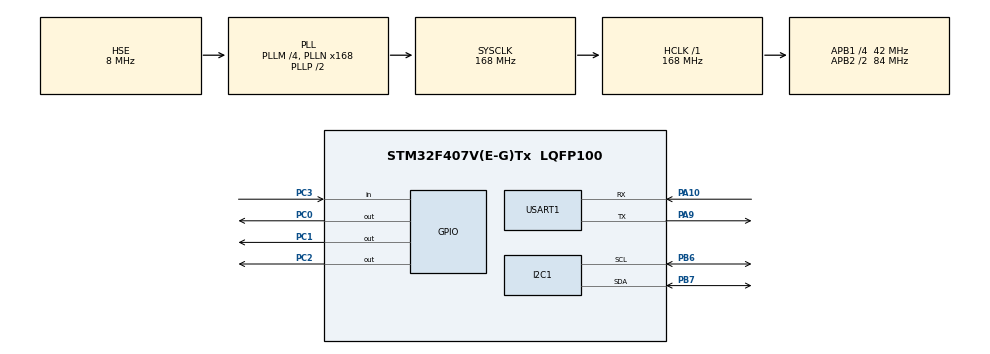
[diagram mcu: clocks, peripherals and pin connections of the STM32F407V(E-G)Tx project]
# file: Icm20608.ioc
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I2C1.I2C_Mode=I2C_Fast
Mcu.Family=STM32F4
Mcu.Name=STM32F407V(E-G)Tx
Mcu.Package=LQFP100
NVIC.PriorityGroup=NVIC_PRIORITYGROUP_4
PA10.Mode=Asynchronous
PA10.Signal=USART1_RX
PA9.Mode=Asynchronous
PA9.Signal=USART1_TX
PB6.Mode=I2C
PB6.Signal=I2C1_SCL
PB7.Mode=I2C
PB7.Signal=I2C1_SDA
PC0.GPIO_ModeDefaultOutputPP=GPIO_MODE_OUTPUT_PP
PC0.GPIO_PuPd=GPIO_PULLUP
PC0.PinState=GPIO_PIN_SET
PC0.Signal=GPIO_Output
PC1.GPIO_ModeDefaultOutputPP=GPIO_MODE_OUTPUT_PP
PC1.GPIO_PuPd=GPIO_PULLUP
PC1.PinState=GPIO_PIN_SET
PC1.Signal=GPIO_Output
PC14-OSC32_IN.Mode=LSE-External-Oscillator
PC14-OSC32_IN.Signal=RCC_OSC32_IN
PC15-OSC32_OUT.Mode=LSE-External-Oscillator
PC15-OSC32_OUT.Signal=RCC_OSC32_OUT
PC2.GPIO_ModeDefaultOutputPP=GPIO_MODE_OUTPUT_PP
PC2.GPIO_PuPd=GPIO_PULLUP
PC2.PinState=GPIO_PIN_SET
PC2.Signal=GPIO_Output
PC3.GPIO_PuPd=GPIO_PULLUP
PC3.Signal=GPIO_Input
PH0-OSC_IN.Mode=HSE-External-Oscillator
PH0-OSC_IN.Signal=RCC_OSC_IN
PH1-OSC_OUT.Mode=HSE-External-Oscillator
PH1-OSC_OUT.Signal=RCC_OSC_OUT
ProjectManager.HeapSize=0x200
ProjectManager.StackSize=0x400
ProjectManager.TargetToolchain=MDK-ARM V5
RCC.48MHZClocksFreq_Value=84000000
RCC.AHBFreq_Value=168000000
RCC.APB1CLKDivider=RCC_HCLK_DIV4
RCC.APB1Freq_Value=42000000
RCC.APB1TimFreq_Value=84000000
RCC.APB2CLKDivider=RCC_HCLK_DIV2
RCC.APB2Freq_Value=84000000
RCC.APB2TimFreq_Value=168000000
RCC.CortexFreq_Value=168000000
RCC.HCLKFreq_Value=168000000
RCC.HSE_VALUE=8000000
RCC.HSI_VALUE=16000000
RCC.PLLM=4
RCC.PLLN=168
RCC.PLLSourceVirtual=RCC_PLLSOURCE_HSE
RCC.SYSCLKFreq_VALUE=168000000
RCC.SYSCLKSource=RCC_SYSCLKSOURCE_PLLCLK
RCC.VCOOutputFreq_Value=336000000
USART1.VirtualMode=VM_ASYNC
board=custom

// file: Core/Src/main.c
/* USER CODE BEGIN Header */
/**
  ******************************************************************************
  * @file           : main.c
  * @brief          : Main program body
  ******************************************************************************
  * @attention
  *
  * Copyright (c) 2025 STMicroelectronics.
  * All rights reserved.
  *
  * This software is licensed under terms that can be found in the LICENSE file
  * in the root directory of this software component.
  * If no LICENSE file comes with this software, it is provided AS-IS.
  *
  ******************************************************************************
  */
/* USER CODE END Header */
#include "main.h"
#include "i2c.h"
#include "usart.h"
#include "gpio.h"

/* USER CODE BEGIN Includes */
#include "stdio.h"
#include "ebtn.h"
#include "multiTimer.h"
#include "elog.h"
#include "driver_icm20608.h"
#include "driver_icm20608_interface.h"
/* USER CODE END Includes */

/* USER CODE BEGIN PTD */
MultiTimer mt_led, mt_key, mt_icm20608;
icm20608_handle_t icm20608;
/* USER CODE END PTD */

/* USER CODE BEGIN PD */
#define MT_KEY_TIME       5   // 按键扫描时间
#define MT_MPU_TIME       200 // 陀螺仪读取时间
/* USER CODE END PD */

/* USER CODE BEGIN PM */
typedef enum {
    USER_BUTTON_0 = 0,
    USER_BUTTON_MAX,
} user_button_t;
/* USER CODE END PM */

/* USER CODE BEGIN PV */
uint8_t current_color = 0; // 0=红, 1=绿, 2=蓝

/* 按键参数配置(消抖时间), 连击间隔时间(连击判断), 长按开始时间(长按判断), 长按间隔时间,
   长按保持时间, 长按结束时间, 长按保持间隔时间 */
static const ebtn_btn_param_t defaul_ebtn_param = EBTN_PARAMS_INIT(20, 0, 20, 300, 200, 1000, 5);

/* USER CODE END PV */

void SystemClock_Config(void);

/* USER CODE BEGIN 0 */
static ebtn_btn_t btns[] = {
    EBTN_BUTTON_INIT(USER_BUTTON_0, &defaul_ebtn_param),
};

uint64_t bsp_timer_tick(void)
{
    return (uint64_t)HAL_GetTick();
}

uint8_t prv_btn_get_state(struct ebtn_btn *btn)
{
    switch(btn->key_id) {
        case USER_BUTTON_0:
            return !HAL_GPIO_ReadPin(GPIOC, GPIO_PIN_3);
        default:
            return 0;
    }
}

void prv_btn_event(struct ebtn_btn *btn, ebtn_evt_t evt)
{
    // 按键K1
    if((btn->key_id == USER_BUTTON_0) && evt == EBTN_EVT_ONCLICK &&(ebtn_click_get_count(btn) == 1)) {
        HAL_GPIO_TogglePin(GPIOC, GPIO_PIN_0);
        elog_i("main", "Btn click");
    }
    else if((btn->key_id == USER_BUTTON_0) && (ebtn_click_get_count(btn) == 2)) {
        HAL_GPIO_TogglePin(GPIOC, GPIO_PIN_1);
        elog_i("main", "Btn Double click");
    }
    else if((btn->key_id == USER_BUTTON_0) && evt == EBTN_EVT_KEEPALIVE) {
        HAL_GPIO_TogglePin(GPIOC, GPIO_PIN_2);
        elog_i("main", "Btn Hold");
    }
}

void app_btn_init(void)
{
    ebtn_init(btns, EBTN_ARRAY_SIZE(btns), NULL, 0, prv_btn_get_state, prv_btn_event);
}

void mt_cb_key(MultiTimer* timer, void* userData)
{
    ebtn_process(HAL_GetTick());
    multiTimerStart(timer, MT_KEY_TIME, mt_cb_key, NULL);
}

void mt_cb_icm20608(MultiTimer* timer, void* userData)
{
    int16_t raw_temp;
    float temp;
    int16_t raw_accel[3];
    float accel[3];
    int16_t raw_gyro[3];
    float gyro[3];
    uint8_t res = 0;

    /* 读取温度 */
    res = icm20608_read_temperature(&icm20608, &raw_temp, &temp);
    if (res == 0)
    {
        elog_i("icm20608","temperature is %0.2fC.", temp);
    }

    /* 读取加速度 */
    res = icm20608_read_accelerometer(&icm20608, raw_accel, accel);
    if (res == 0)
    {
        elog_i("icm20608","acc x is %0.2fg.", accel[0]);
        elog_i("icm20608","acc y is %0.2fg.", accel[1]);
        elog_i("icm20608","acc z is %0.2fg.", accel[2]);
    }

    /* 读取角速度 */
    res = icm20608_read_gyroscope(&icm20608, raw_gyro, gyro);
    if (res == 0)
    {
        elog_i("icm20608","gyro x is %0.2fdps.", gyro[0]);
        elog_i("icm20608","gyro y is %0.2fdps.", gyro[1]);
        elog_i("icm20608","gyro z is %0.2fdps.", gyro[2]);
    }

    multiTimerStart(timer, MT_MPU_TIME, mt_cb_icm20608, NULL);
}

void LEDR_Blink(void)
{
    // 红灯闪烁
    HAL_GPIO_WritePin(GPIOC, GPIO_PIN_2, GPIO_PIN_RESET);
    HAL_GPIO_WritePin(GPIOC, GPIO_PIN_1, GPIO_PIN_SET);
    HAL_GPIO_WritePin(GPIOC, GPIO_PIN_0, GPIO_PIN_SET);
    HAL_Delay(300);
    HAL_GPIO_WritePin(GPIOC, GPIO_PIN_2, GPIO_PIN_SET);
    HAL_Delay(300);
}

void LEDG_Blick(void)
{
    // 绿灯闪烁
    HAL_GPIO_WritePin(GPIOC, GPIO_PIN_2, GPIO_PIN_SET);
    HAL_GPIO_WritePin(GPIOC, GPIO_PIN_1, GPIO_PIN_RESET);
    HAL_GPIO_WritePin(GPIOC, GPIO_PIN_0, GPIO_PIN_SET);
    HAL_Delay(100);
    HAL_GPIO_WritePin(GPIOC, GPIO_PIN_1, GPIO_PIN_SET);
    HAL_Delay(100);
}

uint8_t icm20608_basic_test(void)
{
  HAL_Delay(100);  /* 等待传感器上电稳定 */

  /* ICM20608测试 */
  uint8_t res;
  icm20608_info_t info;

  /* 1. 配置ICM20608句柄 */
  DRIVER_ICM20608_LINK_INIT(&icm20608, icm20608_handle_t);
  DRIVER_ICM20608_LINK_IIC_INIT(&icm20608, icm20608_interface_iic_init);
  DRIVER_ICM20608_LINK_IIC_DEINIT(&icm20608, icm20608_interface_iic_deinit);
  DRIVER_ICM20608_LINK_IIC_READ(&icm20608, icm20608_interface_iic_read);
  DRIVER_ICM20608_LINK_IIC_WRITE(&icm20608, icm20608_interface_iic_write);
  DRIVER_ICM20608_LINK_DELAY_MS(&icm20608, icm20608_interface_delay_ms);
  DRIVER_ICM20608_LINK_DEBUG_PRINT(&icm20608, icm20608_interface_debug_print);

  /* 2. 获取芯片信息 */
  res = icm20608_info(&info);
  if (res)
  {
      printf("icm20608: get info failed, code: %d\r\n", res);
      LEDR_Blink();
      return 1;
  }
  icm20608_interface_debug_print("icm20608: chip is %s.\r\n", info.chip_name);
  icm20608_interface_debug_print("icm20608: manufacturer is %s.\r\n", info.manufacturer_name);
  icm20608_interface_debug_print("icm20608: interface is %s.\r\n", info.interface);
  icm20608_interface_debug_print("icm20608: driver version is 0x%x.\r\n", info.driver_version);
  icm20608_interface_debug_print("icm20608: supply voltage min is %0.1fV.\r\n", info.supply_voltage_min_v);
  icm20608_interface_debug_print("icm20608: supply voltage max is %0.1fV.\r\n", info.supply_voltage_max_v);
  icm20608_interface_debug_print("icm20608: max current is %0.2fmA.\r\n", info.max_current_ma);
  icm20608_interface_debug_print("icm20608: temperature min is %0.1fC.\r\n", info.temperature_min);
  icm20608_interface_debug_print("icm20608: temperature max is %0.1fC.\r\n", info.temperature_max);

  /* 设置IIC地址 */
  icm20608.iic_addr = ICM20608_ADDRESS_AD0_LOW;  /* AD0接GND时的地址 */

  /* 3. 初始化ICM20608 */
  res = icm20608_init(&icm20608);
  if (res)
  {
      icm20608_interface_debug_print("icm20608: init failed, code: %d\r\n", res);
      LEDR_Blink();
      return 1;
  }
  icm20608_interface_debug_print("icm20608: init success.\r\n");

  LEDG_Blick();
  return 0;
}

/* USER CODE END 0 */

int main(void)
{

  /* USER CODE BEGIN 1 */
  multiTimerInstall(bsp_timer_tick);
  /* USER CODE END 1 */

  /* MCU Configuration--------------------------------------------------------*/

  /* Reset of all peripherals, Initializes the Flash interface and the Systick. */
  HAL_Init();

  /* Configure the system clock */
  SystemClock_Config();

  /* Initialize all configured peripherals */
  MX_GPIO_Init();
  MX_USART1_UART_Init();
  MX_I2C1_Init();
  /* USER CODE BEGIN 2 */
  elog_init();
  elog_set_text_color_enabled(true);
  elog_set_fmt(ELOG_LVL_ASSERT, ELOG_FMT_ALL);
  elog_set_fmt(ELOG_LVL_ERROR, ELOG_FMT_LVL | ELOG_FMT_TAG);
  elog_set_fmt(ELOG_LVL_WARN, ELOG_FMT_LVL | ELOG_FMT_TAG);
  elog_set_fmt(ELOG_LVL_INFO, ELOG_FMT_LVL | ELOG_FMT_TAG);
  elog_set_fmt(ELOG_LVL_DEBUG, ELOG_FMT_ALL & ~(ELOG_FMT_TIME | ELOG_FMT_P_INFO | ELOG_FMT_T_INFO));
  elog_set_fmt(ELOG_LVL_VERBOSE, ELOG_FMT_ALL);
  elog_start();
  /* USER CODE END 2 */

  /* Infinite loop */
  /* USER CODE BEGIN WHILE */
  icm20608_basic_test();

  app_btn_init();
  multiTimerStart(&mt_key,      MT_KEY_TIME,     mt_cb_key,        NULL);
  multiTimerStart(&mt_icm20608, MT_MPU_TIME,     mt_cb_icm20608,   NULL);
  while (1)
  {
    /* USER CODE END WHILE */

    /* USER CODE BEGIN 3 */
    multiTimerYield();
  }
  /* USER CODE END 3 */
}

void SystemClock_Config(void)
{
  RCC_OscInitTypeDef RCC_OscInitStruct = {0};
  RCC_ClkInitTypeDef RCC_ClkInitStruct = {0};

  /** Configure the main internal regulator output voltage
  */
  __HAL_RCC_PWR_CLK_ENABLE();
  __HAL_PWR_VOLTAGESCALING_CONFIG(PWR_REGULATOR_VOLTAGE_SCALE1);

  /** Initializes the RCC Oscillators according to the specified parameters
  * in the RCC_OscInitTypeDef structure.
  */
  RCC_OscInitStruct.OscillatorType = RCC_OSCILLATORTYPE_HSE;
  RCC_OscInitStruct.HSEState = RCC_HSE_ON;
  RCC_OscInitStruct.PLL.PLLState = RCC_PLL_ON;
  RCC_OscInitStruct.PLL.PLLSource = RCC_PLLSOURCE_HSE;
  RCC_OscInitStruct.PLL.PLLM = 4;
  RCC_OscInitStruct.PLL.PLLN = 168;
  RCC_OscInitStruct.PLL.PLLP = RCC_PLLP_DIV2;
  RCC_OscInitStruct.PLL.PLLQ = 4;
  if (HAL_RCC_OscConfig(&RCC_OscInitStruct) != HAL_OK)
  {
    Error_Handler();
  }

  /** Initializes the CPU, AHB and APB buses clocks
  */
  RCC_ClkInitStruct.ClockType = RCC_CLOCKTYPE_HCLK|RCC_CLOCKTYPE_SYSCLK
                              |RCC_CLOCKTYPE_PCLK1|RCC_CLOCKTYPE_PCLK2;
  RCC_ClkInitStruct.SYSCLKSource = RCC_SYSCLKSOURCE_PLLCLK;
  RCC_ClkInitStruct.AHBCLKDivider = RCC_SYSCLK_DIV1;
  RCC_ClkInitStruct.APB1CLKDivider = RCC_HCLK_DIV4;
  RCC_ClkInitStruct.APB2CLKDivider = RCC_HCLK_DIV2;

  if (HAL_RCC_ClockConfig(&RCC_ClkInitStruct, FLASH_LATENCY_5) != HAL_OK)
  {
    Error_Handler();
  }
}

/* USER CODE BEGIN 4 */
#ifdef __GNUC__
#define PUTCHAR_PROTOTYPE int __io_putchar(int ch)
#else
#define PUTCHAR_PROTOTYPE int fputc(int ch, FILE *f)
#endif

// Redirect printf to UART
PUTCHAR_PROTOTYPE
{
    HAL_UART_Transmit(&huart1, (uint8_t *)&ch, 1, HAL_MAX_DELAY);
    return ch;
}
/* USER CODE END 4 */

void Error_Handler(void)
{
  __disable_irq();
  while (1)
  {
  }
}
